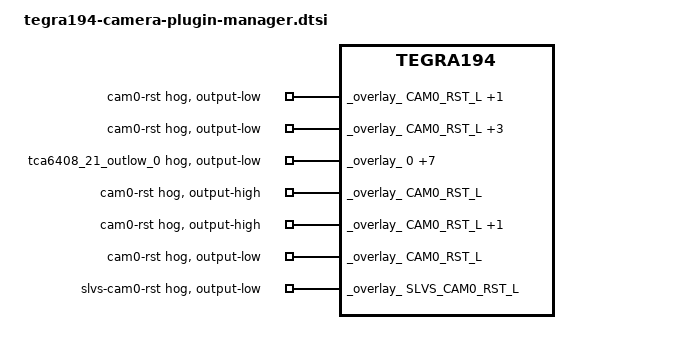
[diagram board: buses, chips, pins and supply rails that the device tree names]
/*
 * Copyright (c) 2016-2018, NVIDIA CORPORATION.  All rights reserved.
 *
 * This program is free software; you can redistribute it and/or modify
 * it under the terms of the GNU General Public License as published by
 * the Free Software Foundation; version 2 of the License.
 *
 * This program is distributed in the hope that it will be useful, but WITHOUT
 * ANY WARRANTY; without even the implied warranty of MERCHANTABILITY or
 * FITNESS FOR A PARTICULAR PURPOSE.  See the GNU General Public License for
 * more details.
 *
 */

#define CAM0_RST_L	TEGRA194_MAIN_GPIO(H, 3)
#define CAM0_PWDN	TEGRA194_MAIN_GPIO(H, 6)
#define CAM1_RST_L	TEGRA194_MAIN_GPIO(T, 6)
#define CAM1_PWDN	TEGRA194_MAIN_GPIO(T, 5)
#define SLVS_CAM0_RST_L	TEGRA194_MAIN_GPIO(Y, 1)

/ {
	gpio@2200000 {
		camera-control-output-low {
			status = "disabled";
		};

		camera-control-output-high {
			status = "disabled";
		};

		camera-control-input {
			status = "disabled";
		};
	};

	/* camera plugin-manager */
	plugin-manager {
		fragment-p2888@0 {
			ids = "2888-*";
			override@0 {
				target = <&dmic_2904300>;
				_overlay_ {
					pinctrl-0 = <>;
					pinctrl-1 = <>;
				};
			};
			override@1 {
				target = <&dspk_2905000>;
				_overlay_ {
					pinctrl-0 = <>;
					pinctrl-1 = <>;
				};
			};
			override@2 {
				target = <&dspk_2905100>;
				_overlay_ {
					pinctrl-0 = <>;
					pinctrl-1 = <>;
				};
			};
			override@3 {
				target = <&i2s_2901400>;
				_overlay_ {
					pinctrl-0 = <>;
					pinctrl-1 = <>;
				};
			};
		};

		/* IMX390 */
		fragment-imx390@0 {
			ids = "LPRD-001";
			override@0 {
				target = <&imx390_cam0>;
				_overlay_ {
					status = "okay";
				};
			};
			override@1 {
				target = <&cam_module0>;
				_overlay_ {
					status = "okay";
					badge = "imx390_rear";
					position = "rear";
					orientation = "1";
				};
			};
			override@2 {
				target = <&cam_module0_drivernode0>;
				_overlay_ {
					status = "okay";
					pcl_id = "v4l2_sensor";
					devname = "imx390 30-001b";
					proc-device-tree = "/proc/device-tree/i2c@3180000/tca9546@70/i2c@0/imx390_a@1b";
				};
			};
			override@3 {
				target = <&imx390_cam1>;
				_overlay_ {
					status = "okay";
				};
			};
			override@4 {
				target = <&cam_module1>;
				_overlay_ {
					status = "okay";
					badge = "imx390_front";
					position = "front";
					orientation = "1";
				};
			};
			override@5 {
				target = <&cam_module1_drivernode0>;
				_overlay_ {
					status = "okay";
					pcl_id = "v4l2_sensor";
					devname = "imx390 30-001c";
					proc-device-tree = "/proc/device-tree/i2c@3180000/tca9546@70/i2c@0/imx390_b@1c";
				};
			};

			/* Enable VI ports */
			override@6 {
				target = <&vi_base>;
				_overlay_ {
					num-channels=<2>;
				};
			};
			override@7 {
				target = <&vi_port0>;
				_overlay_ {
					status = "okay";
				};
			};
			override@8 {
				target = <&vi_port1>;
				_overlay_ {
					status = "okay";
				};
			};
			override@9 {
				target = <&imx390_vi_in0>;
				_overlay_ {
					status = "okay";
					vc-id = <0>;
					port-index = <0>;
					bus-width = <2>;
					remote-endpoint = <&imx390_csi_out0>;
				};
			};
			override@10 {
				target = <&imx390_vi_in1>;
				_overlay_ {
					status = "okay";
					vc-id = <1>;
					port-index = <0>;
					bus-width = <2>;
					remote-endpoint = <&imx390_csi_out1>;
				};
			};

			/* Enable CSI ports */
			override@11{
				target = <&csi_base>;
				_overlay_ {
					num-channels=<2>;
				};
			};
			override@12 {
				target = <&csi_chan0>;
				_overlay_ {
					status = "okay";
				};
			};
			override@13 {
				target = <&csi_chan0_port0>;
				_overlay_ {
					status = "okay";
				};
			};
			override@14 {
				target = <&imx390_csi_in0>;
				_overlay_ {
					status = "okay";
					port-index = <0>;
					bus-width = <2>;
					remote-endpoint = <&imx390_imx390_out0>;
				};
			};
			override@15 {
				target = <&csi_chan0_port1>;
				_overlay_ {
					status = "okay";
				};
			};
			override@16 {
				target = <&imx390_csi_out0>;
				_overlay_ {
					status = "okay";
				};
			};
			override@17 {
				target = <&csi_chan1>;
				_overlay_ {
					status = "okay";
				};
			};
			override@18 {
				target = <&csi_chan1_port0>;
				_overlay_ {
					status = "okay";
				};
			};
			override@19 {
				target = <&imx390_csi_in1>;
				_overlay_ {
					status = "okay";
					port-index = <0>;
					bus-width = <2>;
					remote-endpoint = <&imx390_imx390_out1>;
				};
			};
			override@20 {
				target = <&csi_chan1_port1>;
				_overlay_ {
					status = "okay";
				};
			};
			override@21 {
				target = <&imx390_csi_out1>;
				_overlay_ {
					status = "okay";
				};
			};

			/* tegra-camera-platform settings */
			override@22 {
				target = <&tcp>;
				_overlay_ {
					num_csi_lanes = <2>;
					max_lane_speed = <4000000>;
					min_bits_per_pixel = <10>;
					vi_peak_byte_per_pixel = <2>;
					vi_bw_margin_pct = <25>;
					isp_peak_byte_per_pixel = <5>;
					isp_bw_margin_pct = <25>;
				};
			};
			/* pca9546 i2c mux */
			override@23 {
				target = <&tca9546_70>;
				_overlay_ {
					status = "okay";
				};
			};
			override@24 {
				target = <&max9296_dser>;
				_overlay_ {
					status = "okay";
				};
			};
			override@25 {
				target = <&max9295_prim>;
				_overlay_ {
					status = "okay";
				};
			};
			override@26 {
				target = <&max9295_ser0>;
				_overlay_ {
					status = "okay";
				};
			};
			override@27 {
				target = <&max9295_ser1>;
				_overlay_ {
					status = "okay";
				};
			};
		};

		/* E3326 camera board */
		fragment-e3326@0 {
			ids = "3326-*";
			override@0 {
				target = <&e3326_cam0>;
				_overlay_ {
					status = "okay";
				};
			};
			override@1 {
				target = <&cam_module0>;
				_overlay_ {
					status = "okay";
					badge = "e3326_front_P5V27C";
					position = "rear";
					orientation = "1";
				};
			};
			override@2 {
				target = <&cam_module0_drivernode0>;
				_overlay_ {
					status = "okay";
					pcl_id = "v4l2_sensor";
					devname = "ov5693 2-0036";
					proc-device-tree = "/proc/device-tree/i2c@3180000/ov5693_c@36";
				};
			};
			override@3 {
				target = <&cam_module0_drivernode1>;
				_overlay_ {
					status = "okay";
					pcl_id = "v4l2_lens";
					proc-device-tree = "/proc/device-tree/e3326_lens_ov5693@P5V27C/";
				};
			};
			/* Enable VI ports */
			override@4 {
				target = <&vi_base>;
				_overlay_ {
					num-channels=<1>;
				};
			};
			override@5 {
				target = <&vi_port0>;
				_overlay_ {
					status = "okay";
				};
			};
			override@6 {
				target = <&e3326_vi_in0>;
				_overlay_ {
					status = "okay";
					port-index = <2>;
					bus-width = <2>;
					remote-endpoint = <&e3326_csi_out0>;
				};
			};
			/* Enable CSI ports */
			override@7 {
				target = <&csi_base>;
				_overlay_ {
					num-channels=<1>;
				};
			};
			override@8 {
				target = <&csi_chan0>;
				_overlay_ {
					status = "okay";
				};
			};
			override@9 {
				target = <&csi_chan0_port0>;
				_overlay_ {
					status = "okay";
				};
			};
			override@10 {
				target = <&e3326_csi_in0>;
				_overlay_ {
					status = "okay";
					port-index = <2>;
					bus-width = <2>;
					remote-endpoint = <&e3326_ov5693_out0>;
				};
			};
			override@11 {
				target = <&csi_chan0_port1>;
				_overlay_ {
					status = "okay";
				};
			};
			override@12 {
				target = <&e3326_csi_out0>;
				_overlay_ {
					status = "okay";
					remote-endpoint = <&e3326_vi_in0>;
				};
			};
			/* tegra-camera-platform settings */
			override@13 {
				target = <&tcp>;
				_overlay_ {
					num_csi_lanes = <4>;
					max_lane_speed = <1500000>;
					min_bits_per_pixel = <10>;
					vi_peak_byte_per_pixel = <2>;
					vi_bw_margin_pct = <25>;
					isp_peak_byte_per_pixel = <5>;
					isp_bw_margin_pct = <25>;
				};
			};
			/* GPIO */
			override@14 {
				target = <&{/gpio@2200000}>;
				_overlay_ {
					camera-control-input {
						status = "disabled";
					};
					camera-control-output-low {
						gpio-hog;
						gpios = <CAM0_RST_L 0 CAM0_PWDN 0>;
						label = "cam0-rst", "cam0-pwdn";
						output-low;
						status = "okay";
					};
					camera-control-output-high {
						status = "disabled";
					};
				};
			};
			override@15 {
				target = <&{/gpio@c2f0000}>;
				_overlay_ {
					camera-control-input {
						status = "disabled";
					};
				};
			};
		};

		/* E3333 camera board */
		fragment-e3333@0 {
			ids = "3333-*";
			/* VI number of channels */
			override@0 {
				target = <&vi_base>;
				_overlay_ {
					num-channels=<6>;
				};
			};
			/* CSI number of channels */
			override@1 {
				target = <&csi_base>;
				_overlay_ {
					num-channels=<6>;
				};
			};
			/* tegra-camera-platform settings */
			override@2 {
				target = <&tcp>;
				_overlay_ {
					num_csi_lanes = <12>;
					max_lane_speed = <1500000>;
					min_bits_per_pixel = <10>;
					vi_peak_byte_per_pixel = <2>;
					vi_bw_margin_pct = <25>;
					max_pixel_rate = <200000>;
					isp_peak_byte_per_pixel = <5>;
					isp_bw_margin_pct = <25>;
				};
			};
			/* TCA6408 */
			override@3 {
				target = <&tca6408_21>;
				_overlay_ {
					status = "okay";
				};
			};
			/* TCA9548 */
			override@4 {
				target = <&tca9548_77>;
				_overlay_ {
					status = "okay";
				};
			};
			/* Camera 0: Module */
			override@5 {
				target = <&e3333_cam0>;
				_overlay_ {
					status = "okay";
				};
			};
			override@6 {
				target = <&cam_module0>;
				_overlay_ {
					status = "okay";
					badge = "e3333_bottomleft_P5V27C";
					position = "bottomleft";
					orientation = "1";
				};
			};
			override@7 {
				target = <&cam_module0_drivernode0>;
				_overlay_ {
					status = "okay";
					pcl_id = "v4l2_sensor";
					devname = "ov5693 30-0036";
					proc-device-tree = "/proc/device-tree/i2c@3180000/tca9548@77/i2c@0/ov5693_a@36";
				};
			};
			override@8 {
				target = <&cam_module0_drivernode1>;
				_overlay_ {
					status = "okay";
					pcl_id = "v4l2_lens";
					proc-device-tree = "/proc/device-tree/e3333_lens_ov5693@P5V27C/";
				};
			};
			/* Camera 0: VI */
			override@9 {
				target = <&vi_port0>;
				_overlay_ {
					status = "okay";
				};
			};
			override@10 {
				target = <&e3333_vi_in0>;
				_overlay_ {
					status = "okay";
					port-index = <0>;
					bus-width = <2>;
					remote-endpoint = <&e3333_csi_out0>;
				};
			};
			/* Camera 0: CSI */
			override@11 {
				target = <&csi_chan0>;
				_overlay_ {
					status = "okay";
				};
			};
			override@12 {
				target = <&csi_chan0_port0>;
				_overlay_ {
					status = "okay";
				};
			};
			override@13 {
				target = <&e3333_csi_in0>;
				_overlay_ {
					status = "okay";
					port-index = <0>;
					bus-width = <2>;
					remote-endpoint = <&e3333_ov5693_out0>;
				};
			};
			override@14 {
				target = <&csi_chan0_port1>;
				_overlay_ {
					status = "okay";
				};
			};
			override@15 {
				target = <&e3333_csi_out0>;
				_overlay_ {
					status = "okay";
					remote-endpoint = <&e3333_vi_in0>;
				};
			};
			/* Camera 1: Module */
			override@16 {
				target = <&e3333_cam1>;
				_overlay_ {
					status = "okay";
				};
			};
			override@17 {
				target = <&cam_module1>;
				_overlay_ {
					status = "okay";
					badge = "e3333_centerleft_P5V27C";
					position = "centerleft";
					orientation = "1";
				};
			};
			override@18 {
				target = <&cam_module1_drivernode0>;
				_overlay_ {
					status = "okay";
					pcl_id = "v4l2_sensor";
					devname = "ov5693 31-0036";
					proc-device-tree = "/proc/device-tree/i2c@3180000/tca9548@77/i2c@1/ov5693_b@36";
				};
			};
			override@19 {
				target = <&cam_module1_drivernode1>;
				_overlay_ {
					status = "okay";
					pcl_id = "v4l2_lens";
					proc-device-tree = "/proc/device-tree/e3333_lens_ov5693@P5V27C/";
				};
			};
			/* Camera 1: VI */
			override@20 {
				target = <&vi_port1>;
				_overlay_ {
					status = "okay";
				};
			};
			override@21 {
				target = <&e3333_vi_in1>;
				_overlay_ {
					status = "okay";
					port-index = <1>;
					bus-width = <2>;
					remote-endpoint = <&e3333_csi_out1>;
				};
			};
			/* Camera 1: CSI */
			override@22 {
				target = <&csi_chan1>;
				_overlay_ {
					status = "okay";
				};
			};
			override@23 {
				target = <&csi_chan1_port0>;
				_overlay_ {
					status = "okay";
				};
			};
			override@24 {
				target = <&e3333_csi_in1>;
				_overlay_ {
					status = "okay";
					port-index = <1>;
					bus-width = <2>;
					remote-endpoint = <&e3333_ov5693_out1>;
				};
			};
			override@25 {
				target = <&csi_chan1_port1>;
				_overlay_ {
					status = "okay";
				};
			};
			override@26 {
				target = <&e3333_csi_out1>;
				_overlay_ {
					status = "okay";
					remote-endpoint = <&e3333_vi_in1>;
				};
			};
			/* Camera 2: Module */
			override@27 {
				target = <&e3333_cam2>;
				_overlay_ {
					status = "okay";
				};
			};
			override@28 {
				target = <&cam_module2>;
				_overlay_ {
					status = "okay";
					badge = "e3333_centerright_P5V27C";
					position = "centerright";
					orientation = "1";
				};
			};
			override@29 {
				target = <&cam_module2_drivernode0>;
				_overlay_ {
					status = "okay";
					pcl_id = "v4l2_sensor";
					devname = "ov5693 32-0036";
					proc-device-tree = "/proc/device-tree/i2c@3180000/tca9548@77/i2c@2/ov5693_c@36";
				};
			};
			override@30 {
				target = <&cam_module2_drivernode1>;
				_overlay_ {
					status = "okay";
					pcl_id = "v4l2_lens";
					proc-device-tree = "/proc/device-tree/e3333_lens_ov5693@P5V27C/";
				};
			};
			/* Camera 2: VI */
			override@31 {
				target = <&vi_port2>;
				_overlay_ {
					status = "okay";
				};
			};
			override@32 {
				target = <&e3333_vi_in2>;
				_overlay_ {
					status = "okay";
					port-index = <2>;
					bus-width = <2>;
					remote-endpoint = <&e3333_csi_out2>;
				};
			};
			/* Camera 2: CSI */
			override@33 {
				target = <&csi_chan2>;
				_overlay_ {
					status = "okay";
				};
			};
			override@34 {
				target = <&csi_chan2_port0>;
				_overlay_ {
					status = "okay";
				};
			};
			override@35 {
				target = <&e3333_csi_in2>;
				_overlay_ {
					status = "okay";
					port-index = <2>;
					bus-width = <2>;
					remote-endpoint = <&e3333_ov5693_out2>;
				};
			};
			override@36 {
				target = <&csi_chan2_port1>;
				_overlay_ {
					status = "okay";
				};
			};
			override@37 {
				target = <&e3333_csi_out2>;
				_overlay_ {
					status = "okay";
					remote-endpoint = <&e3333_vi_in2>;
				};
			};
			/* Camera 3: Module */
			override@38 {
				target = <&e3333_cam3>;
				_overlay_ {
					status = "okay";
				};
			};
			override@39 {
				target = <&cam_module3>;
				_overlay_ {
					status = "okay";
					badge = "e3333_topleft_P5V27C";
					position = "topleft";
					orientation = "1";
				};
			};
			override@40 {
				target = <&cam_module3_drivernode0>;
				_overlay_ {
					status = "okay";
					pcl_id = "v4l2_sensor";
					devname = "ov5693 33-0036";
					proc-device-tree = "/proc/device-tree/i2c@3180000/tca9548@77/i2c@3/ov5693_d@36";
				};
			};
			override@41 {
				target = <&cam_module3_drivernode1>;
				_overlay_ {
					status = "okay";
					pcl_id = "v4l2_lens";
					proc-device-tree = "/proc/device-tree/e3333_lens_ov5693@P5V27C/";
				};
			};
			/* Camera 3: VI */
			override@42 {
				target = <&vi_port3>;
				_overlay_ {
					status = "okay";
				};
			};
			override@43 {
				target = <&e3333_vi_in3>;
				_overlay_ {
					status = "okay";
					port-index = <3>;
					bus-width = <2>;
					remote-endpoint = <&e3333_csi_out3>;
				};
			};
			/* Camera 3: CSI */
			override@44 {
				target = <&csi_chan3>;
				_overlay_ {
					status = "okay";
				};
			};
			override@45 {
				target = <&csi_chan3_port0>;
				_overlay_ {
					status = "okay";
				};
			};
			override@46 {
				target = <&e3333_csi_in3>;
				_overlay_ {
					status = "okay";
					port-index = <3>;
					bus-width = <2>;
					remote-endpoint = <&e3333_ov5693_out3>;
				};
			};
			override@47 {
				target = <&csi_chan3_port1>;
				_overlay_ {
					status = "okay";
				};
			};
			override@48 {
				target = <&e3333_csi_out3>;
				_overlay_ {
					status = "okay";
					remote-endpoint = <&e3333_vi_in3>;
				};
			};
			/* Camera 4: Module */
			override@49 {
				target = <&e3333_cam4>;
				_overlay_ {
					status = "okay";
				};
			};
			override@50 {
				target = <&cam_module4>;
				_overlay_ {
					status = "okay";
					badge = "e3333_bottomright_P5V27C";
					position = "bottomright";
					orientation = "1";
				};
			};
			override@51 {
				target = <&cam_module4_drivernode0>;
				_overlay_ {
					status = "okay";
					pcl_id = "v4l2_sensor";
					devname = "ov5693 34-0036";
					proc-device-tree = "/proc/device-tree/i2c@3180000/tca9548@77/i2c@4/ov5693_e@36";
				};
			};
			override@52 {
				target = <&cam_module4_drivernode1>;
				_overlay_ {
					status = "okay";
					pcl_id = "v4l2_lens";
					proc-device-tree = "/proc/device-tree/e3333_lens_ov5693@P5V27C/";
				};
			};
			/* Camera 4: VI */
			override@53 {
				target = <&vi_port4>;
				_overlay_ {
					status = "okay";
				};
			};
			override@54 {
				target = <&e3333_vi_in4>;
				_overlay_ {
					status = "okay";
					port-index = <4>;
					bus-width = <2>;
					remote-endpoint = <&e3333_csi_out4>;
				};
			};
			/* Camera 4: CSI */
			override@55 {
				target = <&csi_chan4>;
				_overlay_ {
					status = "okay";
				};
			};
			override@56 {
				target = <&csi_chan4_port0>;
				_overlay_ {
					status = "okay";
				};
			};
			override@57 {
				target = <&e3333_csi_in4>;
				_overlay_ {
					status = "okay";
					port-index = <4>;
					bus-width = <2>;
					remote-endpoint = <&e3333_ov5693_out4>;
				};
			};
			override@58 {
				target = <&csi_chan4_port1>;
				_overlay_ {
					status = "okay";
				};
			};
			override@59 {
				target = <&e3333_csi_out4>;
				_overlay_ {
					status = "okay";
					remote-endpoint = <&e3333_vi_in4>;
				};
			};
			/* Camera 5: Module */
			override@60 {
				target = <&e3333_cam5>;
				_overlay_ {
					status = "okay";
				};
			};
			override@61 {
				target = <&cam_module5>;
				_overlay_ {
					status = "okay";
					badge = "e3333_topright_P5V27C";
					position = "topright";
					orientation = "1";
				};
			};
			override@62 {
				target = <&cam_module5_drivernode0>;
				_overlay_ {
					status = "okay";
					pcl_id = "v4l2_sensor";
					devname = "ov5693 35-0036";
					proc-device-tree = "/proc/device-tree/i2c@3180000/tca9548@77/i2c@5/ov5693_g@36";
				};
			};
			override@63 {
				target = <&cam_module5_drivernode1>;
				_overlay_ {
					status = "okay";
					pcl_id = "v4l2_lens";
					proc-device-tree = "/proc/device-tree/e3333_lens_ov5693@P5V27C/";
				};
			};
			/* Camera 5: VI */
			override@64 {
				target = <&vi_port5>;
				_overlay_ {
					status = "okay";
				};
			};
			override@65 {
				target = <&e3333_vi_in5>;
				_overlay_ {
					status = "okay";
					port-index = <5>;
					bus-width = <2>;
					remote-endpoint = <&e3333_csi_out5>;
				};
			};
			/* Camera 5: CSI */
			override@66 {
				target = <&csi_chan5>;
				_overlay_ {
					status = "okay";
				};
			};
			override@67 {
				target = <&csi_chan5_port0>;
				_overlay_ {
					status = "okay";
				};
			};
			override@68 {
				target = <&e3333_csi_in5>;
				_overlay_ {
					status = "okay";
					port-index = <6>;
					bus-width = <2>;
					remote-endpoint = <&e3333_ov5693_out5>;
				};
			};
			override@69 {
				target = <&csi_chan5_port1>;
				_overlay_ {
					status = "okay";
				};
			};
			override@70 {
				target = <&e3333_csi_out5>;
				_overlay_ {
					status = "okay";
					remote-endpoint = <&e3333_vi_in5>;
				};
			};
			/* GPIO */
			override@71 {
				target = <&{/gpio@2200000}>;
				_overlay_ {
					camera-control-input {
						status = "disabled";
					};
					camera-control-output-low {
						gpio-hog;
						gpios = <CAM0_RST_L 0 CAM0_PWDN 0
							 CAM1_RST_L 0 CAM1_PWDN 0>;
						label = "cam0-rst", "cam0-pwdn",
							"cam1-rst", "cam1-pwdn";
						output-low;
						status = "okay";
					};
					camera-control-output-high {
						status = "disabled";
					};
				};
			};
			/* TCA6408 default */
			override@72 {
				target = <&tca6408_21>;
				_overlay_ {
					tca6408_21_input {
						status = "disabled";
					};
					tca6408_21_outlow {
						gpio-hog;
						gpios = <0 0 1 0 2 0 3 0 4 0
							 5 0 6 0 7 0>;
						output-low;
						label = "tca6408_21_outlow_0",
							"tca6408_21_outlow_1",
							"tca6408_21_outlow_2",
							"tca6408_21_outlow_3",
							"tca6408_21_outlow_4",
							"tca6408_21_outlow_5",
							"tca6408_21_outlow_6",
							"tca6408_21_outlow_7";
						status = "okay";
					};
					tca6408_21_outhigh {
						status = "disabled";
					};
				};
			};
			/* I2C default */
			override@73 {
				target = <&cam_i2c>;
				_overlay_ {
					compatible = "nvidia,tegra194-i2c";
				};
			};
		};

		/* single IMX274 module */
		fragment-imx274@0 {
			ids = "LPRD-002002";
			override@0 {
				target = <&imx274_cam0>;
				_overlay_ {
					status = "okay";
				};
			};
			override@1 {
				target = <&cam_module0>;
				_overlay_ {
					status = "okay";
					badge = "imx274_bottom_A6V26";
					position = "bottom";
					orientation = "0";
				};
			};
			override@2 {
				target = <&cam_module0_drivernode0>;
				_overlay_ {
					status = "okay";
					pcl_id = "v4l2_sensor";
					devname = "imx274 30-001a";
					proc-device-tree = "/proc/device-tree/i2c@3180000/tca9546@70/i2c@0/imx274_a@1a";
				};
			};
			override@3 {
				target = <&cam_module0_drivernode1>;
				_overlay_ {
					status = "okay";
					pcl_id = "v4l2_lens";
					proc-device-tree = "/proc/device-tree/lens_imx274@A6V26/";
				};
			};
			/* Enable VI ports */
			override@4 {
				target = <&vi_base>;
				_overlay_ {
					num-channels=<1>;
				};
			};
			override@5 {
				target = <&vi_port0>;
				_overlay_ {
					status = "okay";
				};
			};
			override@6 {
				target = <&liimx274_vi_in0>;
				_overlay_ {
					status = "okay";
					port-index = <0>;
					bus-width = <4>;
					remote-endpoint = <&liimx274_csi_out0>;
				};
			};
			/* Enable CSI ports */
			override@7 {
				target = <&csi_base>;
				_overlay_ {
					num-channels=<1>;
				};
			};
			override@8 {
				target = <&csi_chan0>;
				_overlay_ {
					status = "okay";
				};
			};
			override@9 {
				target = <&csi_chan0_port0>;
				_overlay_ {
					status = "okay";
				};
			};
			override@10 {
				target = <&liimx274_csi_in0>;
				_overlay_ {
					status = "okay";
					port-index = <0>;
					bus-width = <4>;
					remote-endpoint = <&liimx274_imx274_out0>;
				};
			};
			override@11 {
				target = <&csi_chan0_port1>;
				_overlay_ {
					status = "okay";
				};
			};
			override@12 {
				target = <&liimx274_csi_out0>;
				_overlay_ {
					status = "okay";
					remote-endpoint = <&liimx274_vi_in0>;
				};
			};
			/* tegra-camera-platform settings */
			override@13 {
				target = <&tcp>;
				_overlay_ {
					num_csi_lanes = <4>;
					max_lane_speed = <1500000>;
					min_bits_per_pixel = <10>;
					vi_peak_byte_per_pixel = <2>;
					vi_bw_margin_pct = <25>;
					isp_peak_byte_per_pixel = <5>;
					isp_bw_margin_pct = <25>;
				};
			};
			/* pca9646 i2c mux */
			override@14 {
				target = <&tca9546_70>;
				_overlay_ {
					status = "okay";
				};
			};
			/* GPIO */
			override@15 {
				target = <&{/gpio@2200000}>;
				_overlay_ {
					camera-control-input {
						status = "disabled";
					};
					camera-control-output-low {
						status = "disabled";
					};
					camera-control-output-high {
						gpio-hog;
						gpios = <CAM0_RST_L 0>;
						label = "cam0-rst";
						output-high;
						status = "okay";
					};
				};
			};
			/* GPIO expander */
			override@16 {
				target = <&pca9570_a_24>;
				_overlay_ {
					status = "okay";
				};
			};
			override@17 {
				target = <&imx390_cam0>;
				_overlay_ {
					status = "disabled";
				};
			};
			override@18 {
				target = <&imx390_cam1>;
				_overlay_ {
					status = "disabled";
				};
			};
			override@19 {
				target = <&cam_module1>;
				_overlay_ {
					status = "disabled";
				};
			};
		};

		/* dual IMX274 module */
		fragment-imx274-dual@0 {
			ids = "LPRD-dual-imx274-002";
			override@0 {
				target = <&imx274_cam0>;
				_overlay_ {
					status = "okay";
				};
			};
			override@1 {
				target = <&cam_module0>;
				_overlay_ {
					status = "okay";
					badge = "imx274_bottom_A6V26";
					position = "bottom";
					orientation = "0";
				};
			};
			override@2 {
				target = <&cam_module0_drivernode0>;
				_overlay_ {
					status = "okay";
					pcl_id = "v4l2_sensor";
					devname = "imx274 30-001a";
					proc-device-tree = "/proc/device-tree/i2c@3180000/tca9546@70/i2c@0/imx274_a@1a";
				};
			};
			override@3 {
				target = <&cam_module0_drivernode1>;
				_overlay_ {
					status = "okay";
					pcl_id = "v4l2_lens";
					proc-device-tree = "/proc/device-tree/lens_imx274@A6V26/";
				};
			};
			override@4 {
				target = <&imx274_cam1>;
				_overlay_ {
					status = "okay";
				};
			};
			override@5 {
				target = <&cam_module1>;
				_overlay_ {
					status = "okay";
					badge = "imx274_top_A6V26";
					position = "top";
					orientation = "0";
				};
			};
			override@6 {
				target = <&cam_module1_drivernode0>;
				_overlay_ {
					status = "okay";
					pcl_id = "v4l2_sensor";
					devname = "imx274 31-001a";
					proc-device-tree = "/proc/device-tree/i2c@3180000/tca9546@70/i2c@1/imx274_c@1a";
				};
			};
			override@7 {
				target = <&cam_module1_drivernode1>;
				_overlay_ {
					status = "okay";
					pcl_id = "v4l2_lens";
					proc-device-tree = "/proc/device-tree/lens_imx274@A6V26/";
				};
			};
			/* Enable VI ports */
			override@8 {
				target = <&vi_base>;
				_overlay_ {
					num-channels=<2>;
				};
			};
			override@9 {
				target = <&vi_port0>;
				_overlay_ {
					status = "okay";
				};
			};
			override@10 {
				target = <&vi_port1>;
				_overlay_ {
					status = "okay";
				};
			};
			override@11 {
				target = <&liimx274_vi_in0>;
				_overlay_ {
					status = "okay";
					port-index = <0>;
					bus-width = <4>;
					remote-endpoint = <&liimx274_csi_out0>;
				};
			};
			override@12 {
				target = <&liimx274_vi_in1>;
				_overlay_ {
					status = "okay";
					port-index = <2>;
					bus-width = <4>;
					remote-endpoint = <&liimx274_csi_out1>;
				};
			};
			/* Enable CSI ports */
			override@13{
				target = <&csi_base>;
				_overlay_ {
					num-channels=<2>;
				};
			};
			override@14 {
				target = <&csi_chan0>;
				_overlay_ {
					status = "okay";
				};
			};
			override@15 {
				target = <&csi_chan0_port0>;
				_overlay_ {
					status = "okay";
				};
			};
			override@16 {
				target = <&liimx274_csi_in0>;
				_overlay_ {
					status = "okay";
					port-index = <0>;
					bus-width = <4>;
					remote-endpoint = <&liimx274_imx274_out0>;
				};
			};
			override@17 {
				target = <&csi_chan0_port1>;
				_overlay_ {
					status = "okay";
				};
			};
			override@18 {
				target = <&liimx274_csi_out0>;
				_overlay_ {
					status = "okay";
				};
			};
			override@19 {
				target = <&csi_chan1>;
				_overlay_ {
					status = "okay";
				};
			};
			override@20 {
				target = <&csi_chan1_port0>;
				_overlay_ {
					status = "okay";
				};
			};
			override@21 {
				target = <&liimx274_csi_in1>;
				_overlay_ {
					status = "okay";
					port-index = <2>;
					bus-width = <4>;
					remote-endpoint = <&liimx274_imx274_out1>;
				};
			};
			override@22 {
				target = <&csi_chan1_port1>;
				_overlay_ {
					status = "okay";
				};
			};
			override@23 {
				target = <&liimx274_csi_out1>;
				_overlay_ {
					status = "okay";
				};
			};
			/* tegra-camera-platform settings */
			override@24 {
				target = <&tcp>;
				_overlay_ {
					num_csi_lanes = <8>;
					max_lane_speed = <1500000>;
					min_bits_per_pixel = <10>;
					vi_peak_byte_per_pixel = <2>;
					vi_bw_margin_pct = <25>;
					isp_peak_byte_per_pixel = <5>;
					isp_bw_margin_pct = <25>;
				};
			};
			/* pca9646 i2c mux */
			override@25 {
				target = <&tca9546_70>;
				_overlay_ {
					status = "okay";
				};
			};
			/* GPIO */
			override@26 {
				target = <&{/gpio@2200000}>;
				_overlay_ {
					camera-control-input {
						status = "disabled";
					};
					camera-control-output-low {
						status = "disabled";
					};
					camera-control-output-high {
						gpio-hog;
						gpios = <CAM0_RST_L 0 CAM0_PWDN 0>;
						label = "cam0-rst", "cam1-rst";
						output-high;
						status = "okay";
					};
				};
			};
		};

		/* E3331 camera board */
		fragment-e3331@0 {
			ids = "3331-*";
			/* VI number of channels */
			override@0 {
				target = <&vi_base>;
				_overlay_ {
					num-channels=<1>;	 /* TODO change to 3 */
				};
			};
			/* CSI number of channels */
			override@1 {
				target = <&csi_base>;
				_overlay_ {
					num-channels=<1>;	/* TODO change to 3 */
				};
			};
			/* tegra-camera-platform settings */
			override@2 {
				target = <&tcp>;
				_overlay_ {
						num_csi_lanes = <3>;
						max_lane_speed = <1500000>;
						min_bits_per_pixel = <10>;
						vi_peak_byte_per_pixel = <2>;
						vi_bw_margin_pct = <25>;
						max_pixel_rate = <160000>;
						isp_peak_byte_per_pixel = <5>;
						isp_bw_margin_pct = <25>;
				};
			};
			/* TCA9546 */
			override@4 {
				target = <&tca9546_70>;
				_overlay_ {
					status = "okay";
				};
			};
			/* Camera 0: Module */
			override@5 {
				target = <&e3331_cam0>;
				_overlay_ {
					status = "okay";
				};
			};
			override@6 {
				target = <&cam_module0>;
				_overlay_ {
					status = "okay";
					badge = "e3331_rear_22N02A";
					position = "rear";
					orientation = "1";
				};
			};
			override@7 {
				target = <&cam_module0_drivernode0>;
				_overlay_ {
					status = "okay";
					pcl_id = "v4l2_sensor";
					devname = "imx318 30-0010";
					proc-device-tree = "/proc/device-tree/i2c@3180000/tca9546@70/i2c@0/imx318_a@10";
				};
			};
			/* Camera 0: VI */
			override@9 {
				target = <&vi_port0>;
				_overlay_ {
					status = "okay";
				};
			};
			override@10 {
				target = <&e3331_vi_in0>;
				_overlay_ {
					status = "okay";
					port-index = <0>;
					bus-width = <3>;
					remote-endpoint = <&e3331_csi_out0>;
				};
			};
			/* Camera 0: CSI */
			override@11 {
				target = <&csi_chan0>;
				_overlay_ {
					status = "okay";
				};
			};
			override@12 {
				target = <&csi_chan0_port0>;
				_overlay_ {
					status = "okay";
				};
			};
			override@13 {
				target = <&e3331_csi_in0>;
				_overlay_ {
					status = "okay";
					port-index = <0>;
					bus-width = <3>;
					remote-endpoint = <&e3331_imx318_out0>;
				};
			};
			override@14 {
				target = <&csi_chan0_port1>;
				_overlay_ {
					status = "okay";
				};
			};
			override@15 {
				target = <&e3331_csi_out0>;
				_overlay_ {
					status = "okay";
					remote-endpoint = <&e3331_vi_in0>;
				};
			};
			/* GPIO */
			override@71 {
				target = <&{/gpio@2200000}>;
				_overlay_ {
					camera-control-input {
						status = "disabled";
					};
					camera-control-output-low {
						gpio-hog;
						gpios = <CAM0_RST_L 0>;
						/*<CAM1_RST_L 0> <CAM2_RST_L 0>*/
						label = "cam0-rst";
						/*"cam1-rst", "cam2-rst";*/
						output-low;
						status = "okay";
					};
					camera-control-output-high {
						status = "disabled";
					};
				};
			};
		};

		/* E3377 camera board */
		fragment-e3377@0 {
			ids = "3377-1000-*";
			override@0 {
				target = <&e3377_cam0>;
				_overlay_ {
					status = "okay";
				};
			};
			override@1 {
				target = <&cam_module0>;
				_overlay_ {
					status = "okay";
					badge = "e3377_rear_IMX204";
					position = "rear";
					orientation = "1";
				};
			};
			override@2 {
				target = <&cam_module0_drivernode0>;
				_overlay_ {
					status = "okay";
					pcl_id = "v4l2_sensor";
					devname = "imx204_spi";
					proc-device-tree = "/proc/device-tree/spi@c260000/imx204@0";
				};
			};
			/* Enable VI ports */
			override@4 {
				target = <&vi_base>;
				_overlay_ {
					num-channels=<1>;
				};
			};
			override@5 {
				target = <&vi_port0>;
				_overlay_ {
					status = "okay";
				};
			};
			override@6 {
				target = <&e3377_vi_in0>;
				_overlay_ {
					status = "okay";
					port-index = <0>;
					bus-width = <4>;
					remote-endpoint = <&e3377_slvs_ec_out0>;
				};
			};
			/* Enable SLVS-EC ports */
			override@8 {
				target = <&slvs_ec_stream0>;
				_overlay_ {
					status = "okay";
				};
			};
			override@9 {
				target = <&slvs_ec_stream0_port0>;
				_overlay_ {
					status = "okay";
				};
			};
			override@10 {
				target = <&e3377_slvs_ec_in0>;
				_overlay_ {
					status = "okay";
					port-index = <0>;
					bus-width = <4>;
					remote-endpoint = <&e3377_imx204_out0>;
				};
			};
			override@11 {
				target = <&slvs_ec_stream0_port1>;
				_overlay_ {
					status = "okay";
				};
			};
			override@12 {
				target = <&e3377_slvs_ec_out0>;
				_overlay_ {
					status = "okay";
					remote-endpoint = <&e3377_vi_in0>;
				};
			};
			/* GPIO */
			override@14 {
				target = <&{/gpio@2200000}>;
				_overlay_ {
					camera-control-input {
						status = "disabled";
					};
					camera-control-output-low {
						gpio-hog;
						gpios = <SLVS_CAM0_RST_L 0>;
						label = "slvs-cam0-rst";
						output-low;
						status = "okay";
					};
					camera-control-output-high {
						status = "disabled";
					};
				};
			};
			override@15 {
				target = <&spi_cam0>;
				_overlay_ {
					status = "okay";
				};
			};
		};

		/* IMX185 module */
		fragment-imx185@0 {
			ids = "LPRD-002001";
			override@0 {
				target = <&imx185_cam0>;
				_overlay_ {
					status = "okay";
				};
			};
			override@1 {
				target = <&cam_module0>;
				_overlay_ {
					status = "okay";
					badge = "imx185_bottom_liimx185";
					position = "bottom";
					orientation = "0";
				};
			};
			override@2 {
				target = <&cam_module0_drivernode0>;
				_overlay_ {
					status = "okay";
					pcl_id = "v4l2_sensor";
					devname = "imx185 30-001a";
					proc-device-tree = "/proc/device-tree/i2c@3180000/tca9546@70/i2c@0/imx185_a@1a";
				};
			};
			override@3 {
				target = <&cam_module0_drivernode1>;
				_overlay_ {
					status = "okay";
					pcl_id = "v4l2_lens";
				};
			};
			/* Enable VI ports */
			override@4 {
				target = <&vi_base>;
				_overlay_ {
					num-channels=<1>;
				};
			};
			override@5 {
				target = <&vi_port0>;
				_overlay_ {
					status = "okay";
				};
			};
			override@6 {
				target = <&liimx185_vi_in0>;
				_overlay_ {
					status = "okay";
					port-index = <0>;
					bus-width = <4>;
					remote-endpoint = <&liimx185_csi_out0>;
				};
			};
			/* Enable CSI ports */
			override@7 {
				target = <&csi_base>;
				_overlay_ {
					num-channels=<1>;
				};
			};
			override@8 {
				target = <&csi_chan0>;
				_overlay_ {
					status = "okay";
				};
			};
			override@9 {
				target = <&csi_chan0_port0>;
				_overlay_ {
					status = "okay";
				};
			};
			override@10 {
				target = <&liimx185_csi_in0>;
				_overlay_ {
					status = "okay";
					port-index = <0>;
					bus-width = <4>;
					remote-endpoint = <&liimx185_imx185_out0>;
				};
			};
			override@11 {
				target = <&csi_chan0_port1>;
				_overlay_ {
					status = "okay";
				};
			};
			override@12 {
				target = <&liimx185_csi_out0>;
				_overlay_ {
					status = "okay";
					remote-endpoint = <&liimx185_vi_in0>;
				};
			};
			/* tegra-camera-platform settings */
			override@13 {
				target = <&tcp>;
				_overlay_ {
					num_csi_lanes = <4>;
					max_lane_speed = <1500000>;
					min_bits_per_pixel = <10>;
					vi_peak_byte_per_pixel = <2>;
					vi_bw_margin_pct = <25>;
					isp_peak_byte_per_pixel = <5>;
					isp_bw_margin_pct = <25>;
				};
			};
			/* pca9646 i2c mux */
			override@14 {
				target = <&tca9546_70>;
				_overlay_ {
					status = "okay";
				};
			};
			/* GPIO expander */
			override@15 {
				target = <&pca9570_a_24>;
				_overlay_ {
					status = "okay";
				};
			};
			override@16 {
				target = <&imx390_cam0>;
				_overlay_ {
					status = "disabled";
				};
			};
			override@17 {
				target = <&imx390_cam1>;
				_overlay_ {
					status = "disabled";
				};
			};
			override@18 {
				target = <&cam_module1>;
				_overlay_ {
					status = "disabled";
				};
			};
		};

		/* CAM0_RST pin - this section must be after all sensor board overrides */
		fragment-p2822-cam0-rst@0 {
			ids = "<2822-0000-500";

			/* GPIO */
			override@0 {
				target = <&{/gpio@2200000/camera-control-output-low}>;
				_overlay_ {
					gpios = <TEGRA194_MAIN_GPIO(H, 4) 0 CAM0_PWDN 0
						CAM1_RST_L 0 CAM1_PWDN 0
						SLVS_CAM0_RST_L 0>;
					label = "cam0-rst", "cam0-pwdn",
						"cam1-rst", "cam1-pwdn",
						"slvs-cam0-rst";
				};
			};
			override@1 {
				target = <&{/gpio@2200000/camera-control-output-high}>;
				_overlay_ {
					gpios = <TEGRA194_MAIN_GPIO(H, 4) 0 CAM0_PWDN 0>;
					label = "cam0-rst", "cam1-rst";
				};
			};
			/* E3326 */
			override@2 {
				target = <&{/i2c@3180000/ov5693_c@36}>;
				_overlay_ {
					reset-gpios = <&tegra_main_gpio TEGRA194_MAIN_GPIO(H, 4) GPIO_ACTIVE_HIGH>;
				};
			};
			/* E3331 */
			override@3 {
				target = <&{/i2c@3180000/tca9546@70/i2c@0/imx318_a@10}>;
				_overlay_ {
					reset-gpios = <&tegra_main_gpio TEGRA194_MAIN_GPIO(H, 4) GPIO_ACTIVE_HIGH>;
				};
			};
			/* E3333 */
			override@4 {
				target = <&{/i2c@3180000/tca9548@77/i2c@0/ov5693_a@36}>;
				_overlay_ {
					reset-gpios = <&tegra_main_gpio TEGRA194_MAIN_GPIO(H, 4) GPIO_ACTIVE_HIGH>;
				};
			};
			/* IMX185 */
			override@5 {
				target = <&{/i2c@3180000/tca9546@70/i2c@0/imx185_a@1a}>;
				_overlay_ {
					reset-gpios = <&tegra_main_gpio TEGRA194_MAIN_GPIO(H, 4) GPIO_ACTIVE_HIGH>;
				};
			};
			/* IMX274, Dual IMX274 */
			override@6 {
				target = <&{/i2c@3180000/tca9546@70/i2c@0/imx274_a@1a}>;
				_overlay_ {
					reset-gpios = <&tegra_main_gpio TEGRA194_MAIN_GPIO(H, 4) GPIO_ACTIVE_HIGH>;
				};
			};
			/* IMX390 */
			override@7 {
				target = <&{/i2c@3180000/tca9546@70/i2c@0/imx390_a@1b}>;
				_overlay_ {
					reset-gpios = <&tegra_main_gpio TEGRA194_MAIN_GPIO(H, 4) GPIO_ACTIVE_HIGH>;
				};
			};
		};
	};
};
